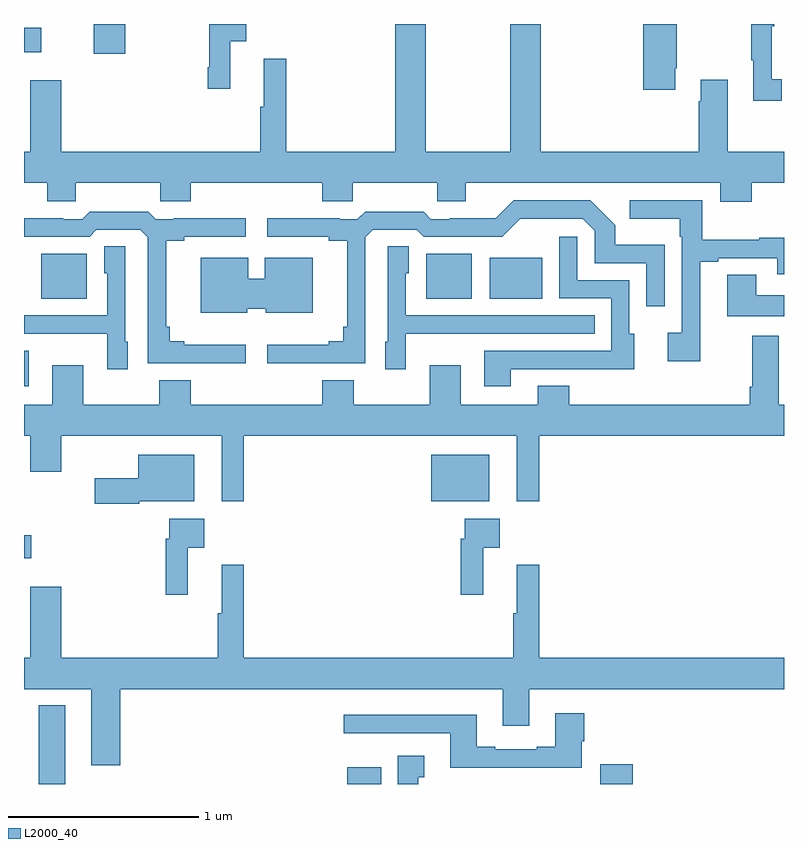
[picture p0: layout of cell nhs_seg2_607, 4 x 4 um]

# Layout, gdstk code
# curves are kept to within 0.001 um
import gdstk
lib = gdstk.Library(unit=1e-6, precision=1e-09)
def R(c, l, rs):  # rectangles x0, y0, x1, y1
    for r in rs: c.add(gdstk.rectangle(r[:2], r[2:], *l))
def P(c, l, *ps):  # polygons
    for p in ps: c.add(gdstk.Polygon(p, *l))
L2000_40 = (2000, 40)

nhs_seg2_607 = lib.new_cell('nhs_seg2_607')
R(nhs_seg2_607, L2000_40, [(141.077,649.8,141.217,650.215), (142.7,649.8,142.879,649.888), (144.032,649.8,144.203,649.903), (141,650.987,141.037,651.109), (143.144,651.287,143.449,651.532), (141,651.894,141.025,652.08), (141.092,652.355,141.331,652.591), (143.117,652.355,143.356,652.591), (143.45,652.355,143.728,652.57), (141.368,653.643,141.534,653.8), (141,653.651,141.091,653.781)])
P(nhs_seg2_607, L2000_40, [(144.829,652.964),(145,652.964),(145,653.128),(144.703,653.128),(144.703,653.506),(144.563,653.506),(144.563,653.393),(144.551,653.393),(144.551,653.128),(143.72,653.128),(143.72,653.8),(143.56,653.8),(143.56,653.128),(143.115,653.128),(143.115,653.8),(142.955,653.8),(142.955,653.128),(142.379,653.128),(142.379,653.617),(142.262,653.617),(142.262,653.364),(142.243,653.364),(142.243,653.128),(141.196,653.128),(141.196,653.503),(141.032,653.503),(141.032,653.128),(141,653.128),(141,652.964),(141.122,652.964),(141.122,652.866),(141.273,652.866),(141.273,652.964),(141.718,652.964),(141.718,652.866),(141.878,652.866),(141.878,652.964),(142.571,652.964),(142.571,652.866),(142.731,652.866),(142.731,652.964),(143.176,652.964),(143.176,652.866),(143.326,652.866),(143.326,652.964),(144.665,652.964),(144.665,652.865),(144.829,652.865)],
  [(142.085,653.708),(142.171,653.708),(142.171,653.8),(141.975,653.8),(141.975,653.572),(141.967,653.572),(141.967,653.46),(142.085,653.46)],
  [(144.427,653.566),(144.435,653.566),(144.435,653.8),(144.26,653.8),(144.26,653.454),(144.427,653.454)],
  [(144.988,653.51),(144.936,653.51),(144.936,653.789),(144.949,653.789),(144.949,653.8),(144.828,653.8),(144.828,653.609),(144.839,653.609),(144.839,653.397),(144.988,653.397)],
  [(142.797,652.677),(142.836,652.716),(143.067,652.716),(143.103,652.68),(143.517,652.68),(143.612,652.775),(143.94,652.776),(144.003,652.713),(144.003,652.542),(144.276,652.542),(144.276,652.314),(144.372,652.314),(144.372,652.639),(144.111,652.639),(144.111,652.742),(143.98,652.872),(143.577,652.872),(143.483,652.778),(143.242,652.778),(143.242,652.773),(143.142,652.773),(143.103,652.813),(142.795,652.813),(142.755,652.773),(142.661,652.773),(142.661,652.778),(142.281,652.778),(142.281,652.68),(142.604,652.68),(142.604,652.658),(142.7,652.658),(142.7,652.207),(142.681,652.207),(142.681,652.13),(142.604,652.13),(142.604,652.111),(142.281,652.111),(142.281,652.014),(142.797,652.014)],
  [(144.559,652.548),(144.655,652.548),(144.655,652.566),(144.965,652.566),(144.965,652.482),(145,652.482),(145,652.675),(144.869,652.675),(144.869,652.664),(144.571,652.664),(144.571,652.872),(144.189,652.872),(144.189,652.775),(144.45,652.775),(144.45,652.679),(144.462,652.679),(144.462,652.174),(144.387,652.174),(144.387,652.026),(144.559,652.026)],
  [(142.168,652.111),(141.844,652.111),(141.844,652.13),(141.767,652.13),(141.767,652.207),(141.749,652.207),(141.749,652.658),(141.844,652.658),(141.844,652.68),(142.168,652.68),(142.168,652.778),(141.787,652.778),(141.787,652.773),(141.693,652.773),(141.653,652.813),(141.346,652.813),(141.306,652.773),(141.206,652.773),(141.206,652.778),(141,652.778),(141,652.68),(141.345,652.68),(141.381,652.716),(141.612,652.716),(141.651,652.677),(141.651,652.014),(142.168,652.014)],
  [(143.563,651.984),(143.993,651.984),(143.993,651.983),(144.211,651.983),(144.211,652.17),(144.186,652.17),(144.186,652.452),(143.913,652.452),(143.913,652.681),(143.817,652.681),(143.817,652.356),(144.09,652.356),(144.09,652.08),(143.423,652.08),(143.423,651.894),(143.563,651.894)],
  [(141.547,652.128),(141.534,652.128),(141.534,652.631),(141.422,652.631),(141.422,652.488),(141.438,652.488),(141.438,652.266),(141,652.266),(141,652.17),(141.121,652.17),(141.121,652.169),(141.438,652.169),(141.438,651.984),(141.547,651.984)],
  [(143.01,652.169),(143.327,652.169),(143.327,652.17),(144.005,652.17),(144.005,652.266),(143.01,652.266),(143.01,652.488),(143.026,652.488),(143.026,652.631),(142.914,652.631),(142.914,652.128),(142.901,652.128),(142.901,651.984),(143.01,651.984)],
  [(142.176,652.301),(142.272,652.301),(142.272,652.28),(142.519,652.28),(142.519,652.57),(142.268,652.57),(142.268,652.459),(142.18,652.459),(142.18,652.57),(141.929,652.57),(141.929,652.28),(142.176,652.28)],
  [(145,652.372),(144.853,652.372),(144.853,652.481),(144.701,652.481),(144.701,652.262),(145,652.262)],
  [(142.157,651.632),(143.594,651.632),(143.594,651.288),(143.711,651.288),(143.711,651.632),(145,651.632),(145,651.796),(144.973,651.796),(144.973,652.159),(144.833,652.159),(144.833,651.892),(144.821,651.892),(144.821,651.796),(143.869,651.796),(143.869,651.895),(143.705,651.895),(143.705,651.796),(143.299,651.796),(143.299,652.003),(143.135,652.003),(143.135,651.796),(142.735,651.796),(142.735,651.925),(142.571,651.925),(142.571,651.796),(141.877,651.796),(141.877,651.925),(141.713,651.925),(141.713,651.796),(141.313,651.796),(141.313,652.003),(141.149,652.003),(141.149,651.796),(141,651.796),(141,651.632),(141.032,651.632),(141.032,651.444),(141.196,651.444),(141.196,651.632),(142.04,651.632),(142.04,651.288),(142.157,651.288)],
  [(141.606,651.287),(141.895,651.287),(141.895,651.532),(141.602,651.532),(141.602,651.409),(141.372,651.409),(141.372,651.275),(141.606,651.275)],
  [(141.863,651.044),(141.949,651.044),(141.949,651.196),(141.765,651.196),(141.765,651.092),(141.745,651.092),(141.745,650.796),(141.863,650.796)],
  [(143.417,651.044),(143.503,651.044),(143.503,651.196),(143.319,651.196),(143.319,651.092),(143.299,651.092),(143.299,650.796),(143.417,650.796)],
  [(143.659,650.3),(145,650.3),(145,650.464),(143.711,650.464),(143.711,650.953),(143.594,650.953),(143.594,650.7),(143.575,650.7),(143.575,650.464),(142.157,650.464),(142.157,650.953),(142.04,650.953),(142.04,650.7),(142.021,650.7),(142.021,650.464),(141.196,650.464),(141.196,650.839),(141.032,650.839),(141.032,650.464),(141,650.464),(141,650.3),(141.353,650.3),(141.353,649.899),(141.506,649.899),(141.506,650.3),(143.519,650.3),(143.519,650.106),(143.659,650.106)],
  [(143.935,650.025),(143.948,650.025),(143.948,650.173),(143.795,650.173),(143.795,649.996),(143.699,649.996),(143.699,649.983),(143.479,649.983),(143.479,649.996),(143.383,649.996),(143.383,650.164),(142.683,650.164),(142.683,650.067),(143.243,650.067),(143.243,649.886),(143.935,649.886)],
  [(143.074,649.835),(143.107,649.835),(143.107,649.948),(142.967,649.948),(142.967,649.8),(143.074,649.8)])

lib.write_gds('nhs_seg2_607.gds')
